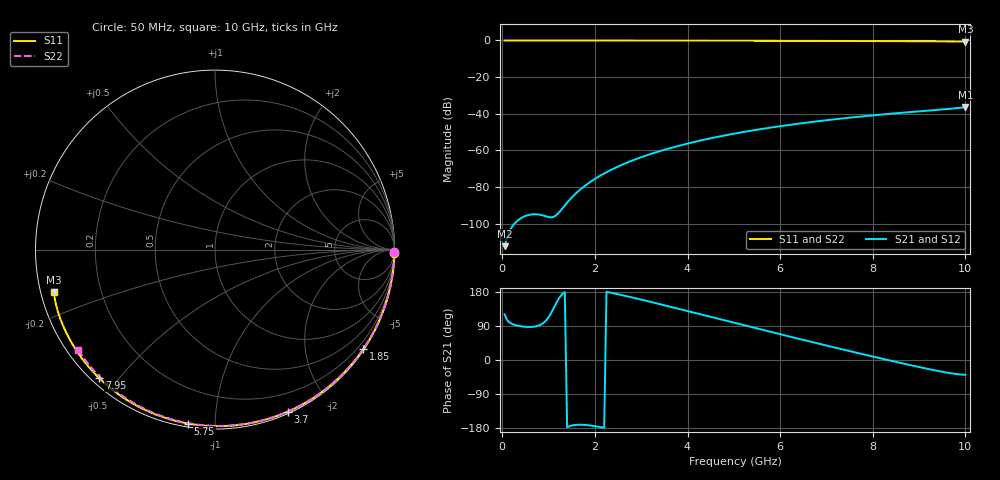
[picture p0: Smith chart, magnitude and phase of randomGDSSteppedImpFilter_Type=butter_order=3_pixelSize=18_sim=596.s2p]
! freq	dB(S11)	phase(S11)	dB(S12)	phase(S12)
!  dB(S21)	phase(S21)	dB(S22)	phase(S22)
!S-par simulation data
#  GHz  S  DB  R 50
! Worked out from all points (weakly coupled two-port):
!   200 points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, 50 MHz to 10 GHz, reference 50 ohm
!   highest |S21| = -36.34 dB at 10 GHz (marker M1); lowest = -112.4 dB at 50 MHz (marker M2)
!   lowest |S11| = -0.7 dB at 10 GHz (marker M3), VSWR 26.68, Z = 1.91 - j6.49 ohm
!   |S11| at or under -10 dB: nowhere
!   |S22| runs from -0.5 to 0.0 dB; largest |S21 - S12| = 0
!   S11 on the Smith chart (normalised r, x): 50 MHz: open; 1.85 GHz: 0.03, -3.29; 3.7 GHz: 0.02, -1.54; 5.75 GHz: 0.02, -0.86; 7.95 GHz: 0.02, -0.44; 10 GHz: 0.04, -0.13
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0.05  -0.00 -0.9  -112.37 120.5  -112.37 120.5  -0.00 -0.8
0.45  -0.01 -8.4  -96.42 88.1  -96.42 88.1  -0.01 -7.5
0.9  -0.02 -16.6  -95.75 98.9  -95.75 98.9  -0.02 -14.9
1.3  -0.03 -23.9  -91.65 174.2  -91.65 174.2  -0.03 -21.5
1.75  -0.04 -32.1  -80.06 -171.1  -80.06 -171.1  -0.04 -28.7
1.85  -0.04 -33.8  -78.16 -172.1  -78.16 -172.1  -0.04 -30.4
2.15  -0.05 -39.2  -73.34 -177.7  -73.34 -177.7  -0.05 -35.1
2.5  -0.06 -45.3  -68.86 173.5  -68.86 173.5  -0.05 -40.7
2.9  -0.07 -52.3  -64.70 162.3  -64.70 162.3  -0.06 -46.9
3.4  -0.08 -60.8  -60.46 147.4  -60.46 147.4  -0.07 -54.6
3.7  -0.09 -65.9  -58.28 138.3  -58.28 138.3  -0.08 -59.1
4.35  -0.11 -76.6  -54.26 118.4  -54.26 118.4  -0.10 -68.8
5.05  -0.14 -87.8  -50.72 96.9  -50.72 96.9  -0.12 -78.8
5.75  -0.17 -98.7  -47.77 75.6  -47.77 75.6  -0.15 -88.6
6.2  -0.19 -105.7  -46.12 62.0  -46.12 62.0  -0.17 -94.7
6.7  -0.22 -113.2  -44.48 47.0  -44.48 47.0  -0.20 -101.4
7.3  -0.26 -122.3  -42.72 29.3  -42.72 29.3  -0.23 -109.3
7.95  -0.32 -132.0  -41.04 10.5  -41.04 10.5  -0.28 -117.7
8.35  -0.36 -138.1  -40.10 -0.8  -40.10 -0.8  -0.32 -122.8
9.3  -0.47 -152.8  -38.11 -26.3  -38.11 -26.3  -0.41 -134.8
9.7  -0.54 -159.5  -37.26 -35.3  -37.26 -35.3  -0.45 -139.9
10  -0.65 -165.2  -36.34 -39.1  -36.34 -39.1  -0.49 -143.6
